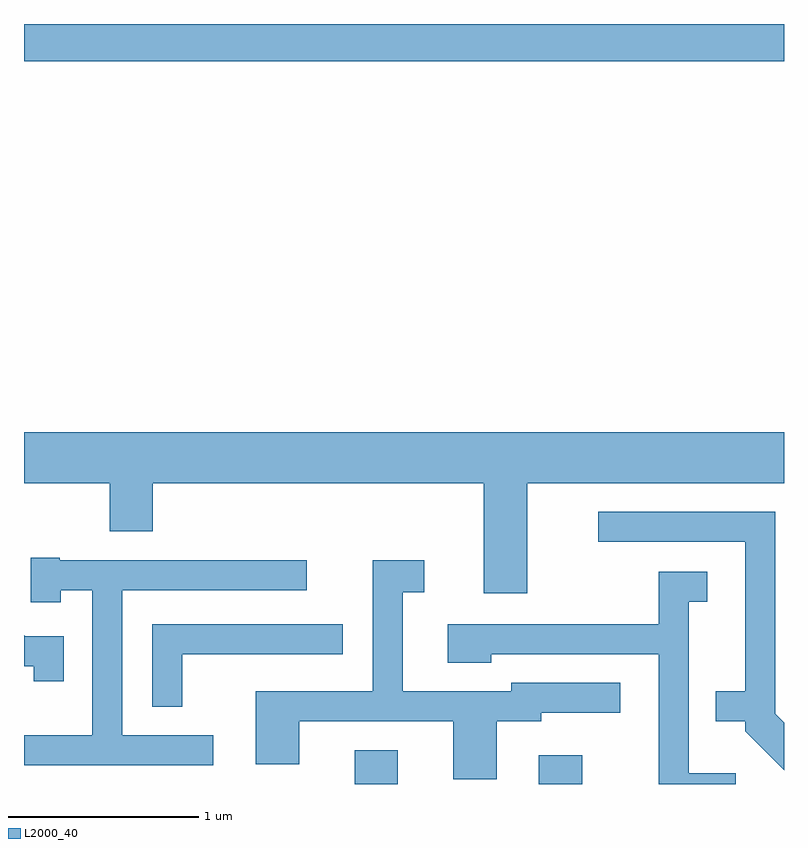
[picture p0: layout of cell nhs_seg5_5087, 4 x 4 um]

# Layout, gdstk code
import gdstk
lib = gdstk.Library(unit=1e-6, precision=1e-09)
def R(c, l, rs):  # rectangles x0, y0, x1, y1
    for r in rs: c.add(gdstk.rectangle(r[:2], r[2:], *l))
def P(c, l, *ps):  # polygons
    for p in ps: c.add(gdstk.Polygon(p, *l))
L2000_40 = (2000, 40)

nhs_seg5_5087 = lib.new_cell('nhs_seg5_5087')
R(nhs_seg5_5087, L2000_40, [(337.351,1484.072,337.579,1484.249), (338.321,1484.072,338.549,1484.224), (335.611,1487.876,339.611,1488.072)])
P(nhs_seg5_5087, L2000_40, [(338.259,1485.656),(339.611,1485.656),(339.611,1485.924),(335.611,1485.924),(335.611,1485.656),(336.061,1485.656),(336.061,1485.401),(336.289,1485.401),(336.289,1485.656),(338.031,1485.656),(338.031,1485.076),(338.259,1485.076)],
  [(339.611,1484.395),(339.564,1484.442),(339.564,1485.504),(338.633,1485.504),(338.633,1485.346),(339.406,1485.346),(339.406,1484.559),(339.253,1484.559),(339.253,1484.401),(339.406,1484.401),(339.406,1484.349),(339.611,1484.144)],
  [(336.608,1484.329),(336.129,1484.329),(336.129,1485.091),(337.098,1485.091),(337.098,1485.249),(335.8,1485.249),(335.8,1485.264),(335.646,1485.264),(335.646,1485.028),(335.804,1485.028),(335.804,1485.091),(335.971,1485.091),(335.971,1484.329),(335.611,1484.329),(335.611,1484.171),(336.608,1484.171)],
  [(338.099,1484.401),(338.334,1484.401),(338.334,1484.446),(338.748,1484.446),(338.748,1484.604),(338.176,1484.604),(338.176,1484.559),(337.604,1484.559),(337.604,1485.081),(337.718,1485.081),(337.718,1485.249),(337.446,1485.249),(337.446,1484.559),(336.831,1484.559),(336.831,1484.176),(337.059,1484.176),(337.059,1484.401),(337.871,1484.401),(337.871,1484.096),(338.099,1484.096)],
  [(339.358,1484.129),(339.109,1484.129),(339.109,1485.031),(339.208,1485.031),(339.208,1485.189),(338.951,1485.189),(338.951,1484.914),(337.841,1484.914),(337.841,1484.711),(338.069,1484.711),(338.069,1484.756),(338.951,1484.756),(338.951,1484.072),(339.358,1484.072)],
  [(336.444,1484.756),(337.288,1484.756),(337.288,1484.914),(336.286,1484.914),(336.286,1484.478),(336.444,1484.478)],
  [(335.819,1484.849),(335.617,1484.849),(335.611,1484.855),(335.611,1484.691),(335.661,1484.691),(335.661,1484.613),(335.819,1484.613)])

lib.write_gds('nhs_seg5_5087.gds')
